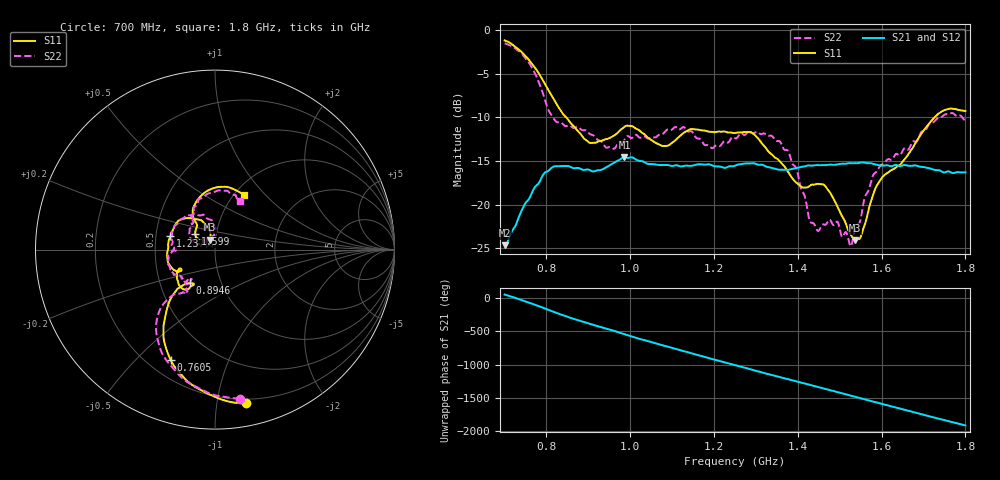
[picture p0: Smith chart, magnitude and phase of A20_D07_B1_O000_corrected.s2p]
! Created with skrf 1.9.0 (http://scikit-rf.org).
# Hz S RI R 50.0
!freq ReS11 ImS11 ReS21 ImS21 ReS12 ImS12 ReS22 ImS22
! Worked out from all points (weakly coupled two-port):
!   1601 points, 700 MHz to 1.8 GHz, reference 50 ohm
!   highest |S21| = -14.56 dB at 986 MHz (marker M1); lowest = -24.6 dB at 700 MHz (marker M2)
!   lowest |S11| = -24.1 dB at 1.537 GHz (marker M3), VSWR 1.13, Z = 46.9 + j5.19 ohm
!   |S11| at or under -10 dB: 847.2 MHz to 1.726 GHz (878.9 MHz wide, 68.3 % of centre)
!   |S22| runs from -24.8 to -1.5 dB; largest |S21 - S12| = 0.0035
!   S11 on the Smith chart (normalised r, x): 700 MHz: 0.17, -1.21; 760.5 MHz: 0.29, -0.64; 894.6 MHz: 0.71, -0.28; 1.237 GHz: 0.60, +0.10; 1.599 GHz: 0.79, +0.14; 1.8 GHz: 1.12, +0.77
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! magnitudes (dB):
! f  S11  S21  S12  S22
! 700 MHz  -1.2  -24.6  -24.4  -1.5
! 760.5 MHz  -3.6  -19.1  -19.0  -3.9
! 818.9 MHz  -8.0  -15.6  -15.7  -10.3
! 883.6 MHz  -12.0  -15.9  -15.8  -11.4
! 894.6 MHz  -12.6  -16.0  -16.1  -11.5
! 944.1 MHz  -12.5  -15.7  -15.7  -13.5
! 986 MHz  -11.1  -14.6  -14.6  -12.6
! 1.067 GHz  -13.1  -15.4  -15.4  -12.0
! 1.145 GHz  -11.3  -15.6  -15.6  -11.6
! 1.237 GHz  -11.7  -15.6  -15.7  -12.7
! 1.25 GHz  -11.8  -15.5  -15.5  -12.4
! 1.292 GHz  -11.8  -15.3  -15.3  -11.8
! 1.357 GHz  -15.1  -16.0  -16.0  -12.8
! 1.396 GHz  -17.5  -15.8  -15.8  -15.8
! 1.434 GHz  -17.7  -15.5  -15.5  -22.1
! 1.469 GHz  -18.1  -15.5  -15.4  -22.2
! 1.526 GHz  -23.4  -15.2  -15.2  -24.7
! 1.537 GHz  -24.1  -15.2  -15.3  -22.8
! 1.599 GHz  -17.0  -15.5  -15.5  -15.4
! 1.617 GHz  -16.3  -15.5  -15.5  -14.8
! 1.735 GHz  -9.6  -16.0  -16.1  -10.1
! 1.8 GHz  -9.3  -16.3  -16.3  -10.3
